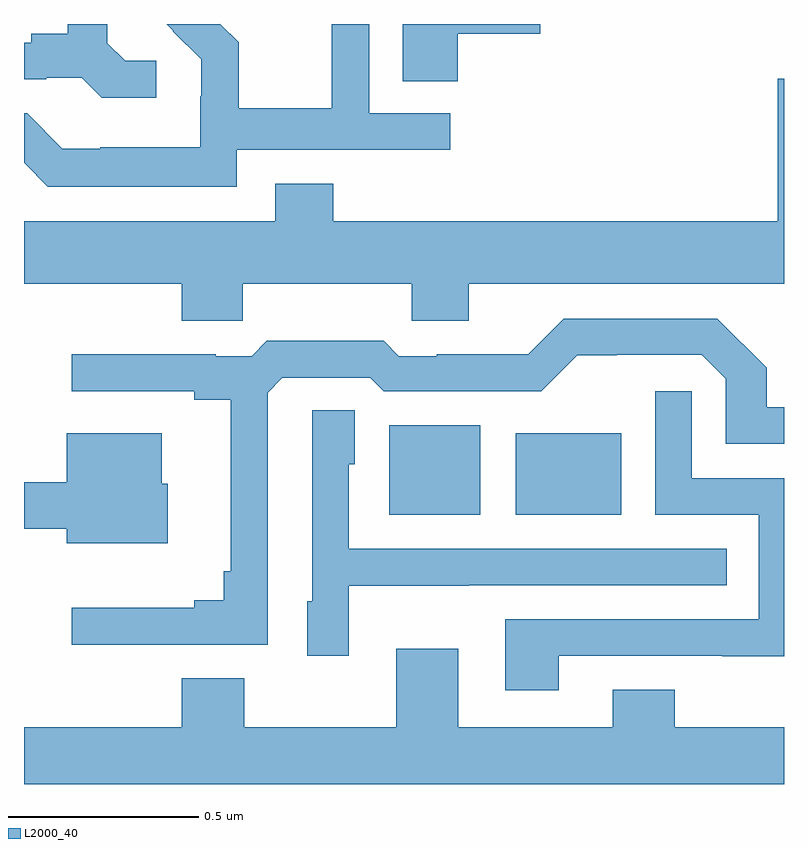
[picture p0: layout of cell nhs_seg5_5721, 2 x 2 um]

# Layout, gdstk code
import gdstk
lib = gdstk.Library(unit=1e-6, precision=1e-09)
def R(c, l, rs):  # rectangles x0, y0, x1, y1
    for r in rs: c.add(gdstk.rectangle(r[:2], r[2:], *l))
def P(c, l, *ps):  # polygons
    for p in ps: c.add(gdstk.Polygon(p, *l))
L2000_40 = (2000, 40)

nhs_seg5_5721 = lib.new_cell('nhs_seg5_5721')
R(nhs_seg5_5721, L2000_40, [(187.961,833.507,188.2,833.743), (188.294,833.507,188.572,833.722)])
P(nhs_seg5_5721, L2000_40, [(187.348,834.702),(187.266,834.702),(187.219,834.749),(187.219,834.799),(187.115,834.799),(187.115,834.773),(187.019,834.773),(187.019,834.75),(187,834.75),(187,834.654),(187.058,834.654),(187.058,834.657),(187.152,834.657),(187.204,834.605),(187.348,834.605)],
  [(188.141,834.773),(188.359,834.773),(188.359,834.799),(187.997,834.799),(187.997,834.649),(188.141,834.649)],
  [(187.56,834.468),(188.122,834.468),(188.122,834.564),(187.908,834.564),(187.908,834.799),(187.81,834.799),(187.81,834.577),(187.565,834.577),(187.565,834.751),(187.517,834.799),(187.375,834.799),(187.393,834.781),(187.392,834.78),(187.466,834.706),(187.466,834.609),(187.464,834.609),(187.464,834.475),(187.201,834.475),(187.201,834.471),(187.101,834.471),(187.008,834.564),(187,834.564),(187,834.434),(187.063,834.371),(187.56,834.371)],
  [(187.575,834.116),(188.02,834.116),(188.02,834.018),(188.17,834.018),(188.17,834.116),(189,834.116),(189,834.655),(188.984,834.655),(188.984,834.28),(187.814,834.28),(187.814,834.379),(187.661,834.379),(187.661,834.28),(187,834.28),(187,834.116),(187.415,834.116),(187.415,834.018),(187.575,834.018)],
  [(187.641,833.829),(187.68,833.868),(187.911,833.868),(187.947,833.832),(188.361,833.832),(188.456,833.927),(188.56,833.927),(188.56,833.928),(188.784,833.928),(188.847,833.865),(188.847,833.694),(189,833.694),(189,833.791),(188.955,833.791),(188.955,833.894),(188.824,834.024),(188.421,834.024),(188.327,833.93),(188.086,833.93),(188.086,833.925),(187.986,833.925),(187.947,833.965),(187.639,833.965),(187.599,833.925),(187.505,833.925),(187.505,833.93),(187.125,833.93),(187.125,833.832),(187.448,833.832),(187.448,833.81),(187.544,833.81),(187.544,833.359),(187.525,833.359),(187.525,833.282),(187.448,833.282),(187.448,833.263),(187.125,833.263),(187.125,833.166),(187.641,833.166)],
  [(188.407,833.136),(188.837,833.136),(188.837,833.135),(189,833.135),(189,833.604),(188.757,833.604),(188.757,833.833),(188.661,833.833),(188.661,833.508),(188.934,833.508),(188.934,833.232),(188.267,833.232),(188.267,833.046),(188.407,833.046)],
  [(187.854,833.321),(188.171,833.321),(188.171,833.322),(188.849,833.322),(188.849,833.418),(187.854,833.418),(187.854,833.64),(187.87,833.64),(187.87,833.783),(187.758,833.783),(187.758,833.28),(187.745,833.28),(187.745,833.136),(187.854,833.136)],
  [(187.378,833.589),(187.363,833.589),(187.363,833.722),(187.112,833.722),(187.112,833.593),(187,833.593),(187,833.471),(187.112,833.471),(187.112,833.432),(187.378,833.432)],
  [(189,832.948),(188.713,832.948),(188.713,833.047),(188.549,833.047),(188.549,832.948),(188.143,832.948),(188.143,833.155),(187.979,833.155),(187.979,832.948),(187.579,832.948),(187.579,833.077),(187.415,833.077),(187.415,832.948),(187,832.948),(187,832.799),(189,832.799)])

lib.write_gds('nhs_seg5_5721.gds')
